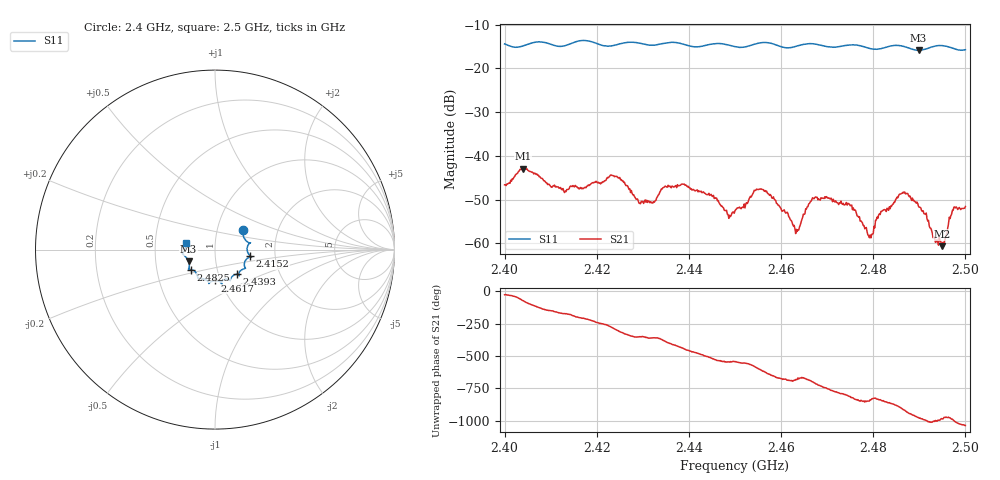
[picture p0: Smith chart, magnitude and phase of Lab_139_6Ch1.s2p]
# Hz S RI R 50
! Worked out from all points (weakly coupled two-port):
!   601 points, 2.4 GHz to 2.5 GHz, reference 50 ohm
!   highest |S21| = -42.91 dB at 2.404 GHz (marker M1); lowest = -60.7 dB at 2.495 GHz (marker M2)
!   lowest |S11| = -15.9 dB at 2.4898 GHz (marker M3), VSWR 1.38, Z = 36.9 - j4.9 ohm
!   |S11| at or under -10 dB: start of sweep to end of sweep
!   S12 and S22 are empty: the file has one direction only
!   S11 on the Smith chart (normalised r, x): 2.4 GHz: 1.33, +0.30; 2.4152 GHz: 1.48, -0.11; 2.4393 GHz: 1.23, -0.35; 2.4617 GHz: 0.94, -0.33; 2.4825 GHz: 0.75, -0.17; 2.5 GHz: 0.72, +0.05
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2.4e9  0.1558 0.11  0.0042 -0.00204  0 0  0 0
2.404e9  0.1741 0.0484  0.00226 -0.00679  0 0  0 0
2.415167e9  0.196 -0.0361  -0.00434 0.00088  0 0  0 0
2.416667e9  0.2041 -0.0418  -0.00375 0.00188  0 0  0 0
2.4235e9  0.1633 -0.0808  0.00128 0.00582  0 0  0 0
2.4295e9  0.1614 -0.1069  0.0028 0.000467  0 0  0 0
2.433333e9  0.1329 -0.1327  0.00356 -0.000166  0 0  0 0
2.439333e9  0.1239 -0.138  -2.47e-05 -0.00463  0 0  0 0
2.45e9  0.0667 -0.1644  -0.00236 0.000179  0 0  0 0
2.455667e9  0.0372 -0.1933  -0.0015 0.00392  0 0  0 0
2.461667e9  0.000833 -0.1721  0.00171 0.00106  0 0  0 0
2.463667e9  -0.0242 -0.1801  0.000899 0.00111  0 0  0 0
2.466667e9  -0.0339 -0.1888  0.00291 0.00123  0 0  0 0
2.474833e9  -0.0909 -0.1617  -0.00013 -0.0028  0 0  0 0
2.479333e9  -0.1033 -0.1332  -0.000596 -0.0011  0 0  0 0
2.4825e9  -0.1326 -0.1111  -0.00167 -0.00176  0 0  0 0
2.483333e9  -0.1398 -0.1104  -0.00186 -0.00149  0 0  0 0
2.486333e9  -0.1461 -0.1053  -0.00369 0.000597  0 0  0 0
2.489833e9  -0.1475 -0.0647  -0.000651 0.00256  0 0  0 0
2.495e9  -0.1811 -0.021  -6.31e-05 0.000926  0 0  0 0
2.4975e9  -0.1684 -0.00441  0.000402 0.00256  0 0  0 0
2.5e9  -0.1598 0.0353  0.00192 0.0018  0 0  0 0
